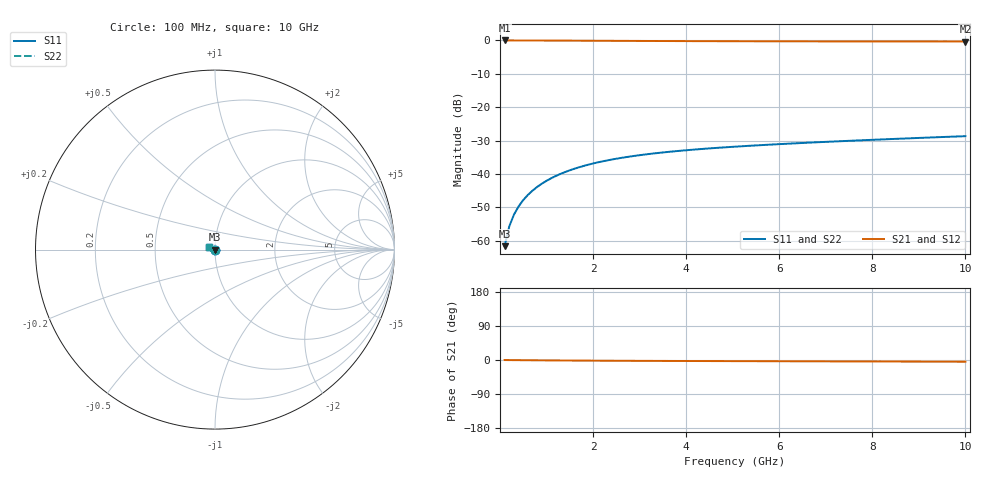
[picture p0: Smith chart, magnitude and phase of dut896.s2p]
! Touchstone file exported from HFSS 2024.1.0
!  File:  C:/UserFiles/LocalFiles/RDL_TSV_Batchsim/temp_TSV1_896_1779885431.aedt
!  Generated:  08:42:19 PM May 27, 2026
!  Design:  TSV1
!  Project:  temp_TSV1_896_1779885431
!  Setup:  Setup1
!  Solution:  Sweep
! Variables:
!  dtsv = 8.8um
!  hbump = 3um
!  htsv = 65.36um
!  lrdl = 252.1521522um
!  p = 40
!  p1 = 58.77um
!  t = 500um
!  trdl = 3um
!  wrdl = 24.89489489um
# GHz S MA R 50.000000
! Terminal data exported
! Port[1] = TSV22_T1
! Port[2] = TSV22_T2
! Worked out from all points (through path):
!   100 points, 100 MHz to 10 GHz, reference 50 ohm
!   highest |S21| = 0.00 dB at 100 MHz (marker M1); lowest = -0.3 dB at 10 GHz (marker M2)
!   lowest |S11| = -61.7 dB at 100 MHz (marker M3), VSWR 1.00, Z = 50 - j0.0814 ohm
!   |S11| at or under -10 dB: start of sweep to end of sweep
!   |S22| runs from -61.7 to -28.7 dB; largest |S21 - S12| = 1.1e-14
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0.1  0.0008248 -80.7  0.9998 -0.1  0.9998 -0.1  0.0008248 -80.7
! Gamma 0 0 0 0
! Port Impedance 50 0 50 0
0.2  0.001633 -88.5  0.9997 -0.2  0.9997 -0.2  0.001633 -88.5
0.3  0.002444 -92.8  0.9995 -0.3  0.9995 -0.3  0.002444 -92.8
0.4  0.00325 -96.0  0.9993 -0.4  0.9993 -0.4  0.00325 -96.0
0.5  0.004048 -98.9  0.999 -0.5  0.999 -0.5  0.004048 -98.9
0.6  0.004837 -101.5  0.9986 -0.6  0.9986 -0.6  0.004837 -101.5
0.7  0.005615 -104.0  0.9982 -0.7  0.9982 -0.7  0.005615 -104.0
0.8  0.006381 -106.4  0.9978 -0.8  0.9978 -0.8  0.006381 -106.4
0.9  0.007134 -108.7  0.9973 -0.9  0.9973 -0.9  0.007134 -108.7
1.1  0.008593 -113.3  0.9962 -1.1  0.9962 -1.1  0.008593 -113.3
1.4  0.01066 -119.7  0.9943 -1.3  0.9943 -1.3  0.01066 -119.7
1.6  0.01195 -123.7  0.9929 -1.5  0.9929 -1.5  0.01195 -123.7
1.8  0.01316 -127.6  0.9915 -1.6  0.9915 -1.6  0.01316 -127.6
2.1  0.01485 -133.2  0.9893 -1.8  0.9893 -1.8  0.01485 -133.2
2.5  0.01687 -140.1  0.9865 -2.0  0.9865 -2.0  0.01687 -140.1
2.9  0.01865 -146.4  0.9838 -2.2  0.9838 -2.2  0.01865 -146.4
3.4  0.02059 -153.6  0.9808 -2.4  0.9808 -2.4  0.02059 -153.6
4.2  0.02321 -163.7  0.9768 -2.7  0.9768 -2.7  0.02321 -163.7
5.1  0.0257 -173.4  0.9733 -3.0  0.9733 -3.0  0.0257 -173.4
6.7  0.02951 172.7  0.969 -3.5  0.969 -3.5  0.02951 172.7
8.4  0.03326 161.2  0.9661 -4.0  0.9661 -4.0  0.03326 161.2
10  0.03675 152.4  0.9642 -4.5  0.9642 -4.5  0.03675 152.4
